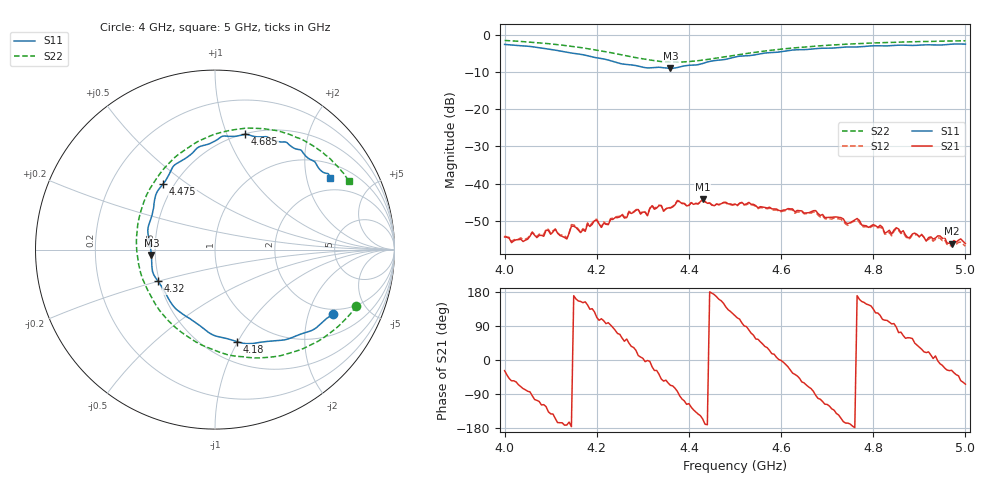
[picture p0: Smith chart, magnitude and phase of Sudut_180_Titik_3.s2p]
# Hz S RI R 50
! CMT, C1220, 16058040, 17.2.0/1
! Date: 15/08/2018 12:39:44
! Data: Format (Calibration Info)
! Freq  S11: Re/Im (F2)  S21: Re/Im (F2)  S12: Re/Im (F2)  S22: Re/Im (F2)
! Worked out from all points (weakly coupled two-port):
!   201 points, 4 GHz to 5 GHz, reference 50 ohm
!   highest |S21| = -44.28 dB at 4.43 GHz (marker M1); lowest = -56.2 dB at 4.97 GHz (marker M2)
!   lowest |S11| = -9.0 dB at 4.36 GHz (marker M3), VSWR 2.10, Z = 23.8 - j1.61 ohm
!   |S11| at or under -10 dB: nowhere
!   |S22| runs from -7.3 to -1.4 dB; largest |S21 - S12| = 0.00026
!   S11 on the Smith chart (normalised r, x): 4 GHz: 1.78, -2.92; 4.18 GHz: 0.70, -0.99; 4.32 GHz: 0.49, -0.20; 4.475 GHz: 0.44, +0.41; 4.685 GHz: 0.51, +1.17; 5 GHz: 1.48, +2.77
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4e9  0.6575 -0.3594  0.00169 -0.000901  0.00177 -0.000864  0.7868 -0.3141
4.04e9  0.5763 -0.4249  0.00042 -0.00161  0.000515 -0.0017  0.7109 -0.4036
4.11e9  0.373 -0.5046  -0.00221 -0.00106  -0.00216 -0.00113  0.5234 -0.5362
4.135e9  0.2884 -0.5118  -0.00178 -0.000264  -0.0018 -0.000361  0.4377 -0.57
4.145e9  0.2483 -0.5169  -0.00266 -0.00019  -0.00279 -0.000317  0.3998 -0.5818
4.17e9  0.1559 -0.5216  -0.0021 0.00115  -0.00222 0.00109  0.3043 -0.5997
4.18e9  0.1225 -0.5131  -0.00236 0.00163  -0.00244 0.00168  0.2621 -0.6023
4.2e9  0.0494 -0.4919  -0.00123 0.00297  -0.00131 0.00304  0.1775 -0.6001
4.21e9  0.0112 -0.4834  -0.000833 0.00243  -0.000907 0.00243  0.1345 -0.5956
4.29e9  -0.2488 -0.2909  0.00439 0.000919  0.00444 0.000927  -0.2056 -0.4458
4.31e9  -0.2939 -0.2109  0.00369 -8.5e-05  0.00376 -0.000146  -0.2771 -0.3767
4.32e9  -0.32 -0.1736  0.0048 -0.00153  0.00483 -0.0016  -0.3099 -0.3375
4.335e9  -0.3478 -0.1232  0.00401 -0.00306  0.00403 -0.00319  -0.3501 -0.2722
4.36e9  -0.3542 -0.0295  0.00185 -0.00434  0.00187 -0.00433  -0.4059 -0.1566
4.43e9  -0.3416 0.235  -0.00558 -0.00249  -0.00556 -0.00236  -0.4197 0.1899
4.475e9  -0.2878 0.3682  -0.0048 0.00281  -0.00474 0.00294  -0.3387 0.3762
4.5e9  -0.2428 0.446  -0.00238 0.00475  -0.00233 0.00469  -0.2782 0.4583
4.67e9  0.1431 0.6364  0.000561 -0.00427  0.000452 -0.00412  0.2056 0.6768
4.685e9  0.1694 0.6423  -0.000867 -0.00363  -0.000819 -0.00346  0.2453 0.675
4.835e9  0.4484 0.5614  -0.000399 0.00233  -0.000405 0.00216  0.5506 0.5754
4.97e9  0.6243 0.4245  0.00137 -0.000707  0.0013 -0.000676  0.7188 0.4213
5e9  0.6411 0.4002  0.00069 -0.0014  0.000661 -0.00128  0.7467 0.3819
